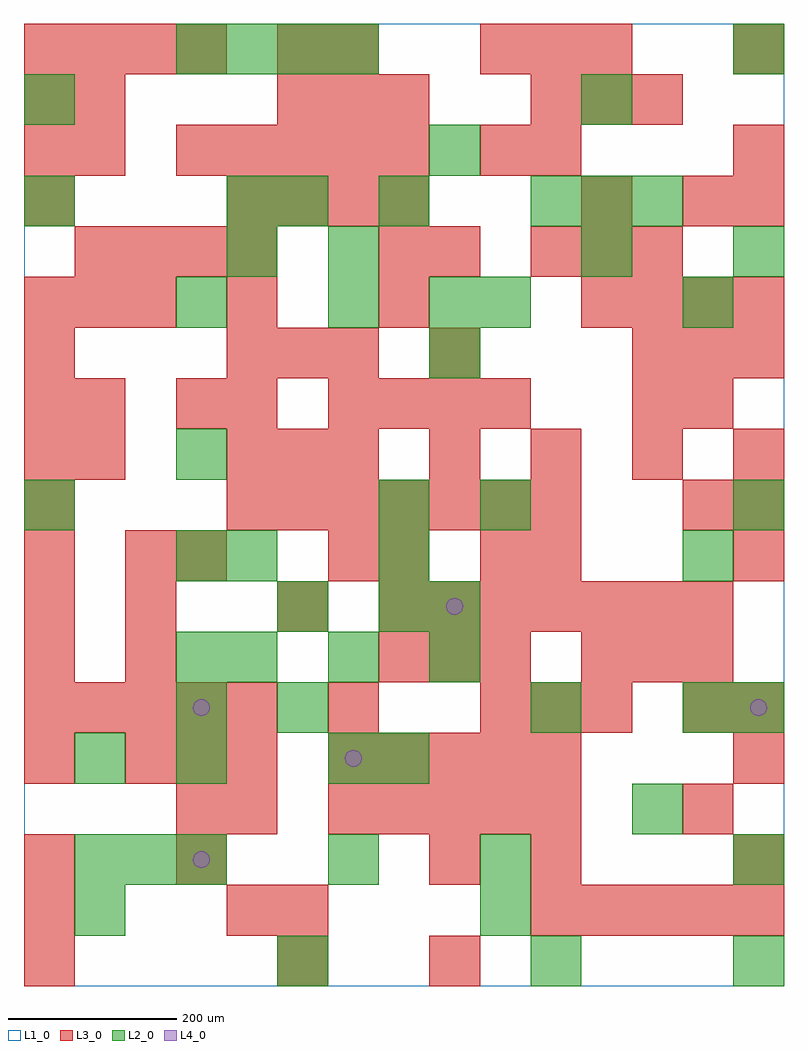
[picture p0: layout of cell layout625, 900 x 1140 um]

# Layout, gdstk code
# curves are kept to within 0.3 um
import gdstk
lib = gdstk.Library(unit=1e-6, precision=1e-09)
def R(c, l, rs):  # rectangles x0, y0, x1, y1
    for r in rs: c.add(gdstk.rectangle(r[:2], r[2:], *l))
def A(c, l, x, y, w, h, nx, ny, dx, dy):  # array of equal rectangles
    R(c, l, [(x+i*dx, y+j*dy, x+i*dx+w, y+j*dy+h) for i in range(nx) for j in range(ny)])
def P(c, l, *ps):  # polygons
    for p in ps: c.add(gdstk.Polygon(p, *l))
L1_0 = (1, 0)
L2_0 = (2, 0)
L3_0 = (3, 0)
L4_0 = (4, 0)

layout625 = lib.new_cell('layout625')
R(layout625, L1_0, [(0,0,900,1140)])
A(layout625, L2_0, 60, 120, 60, 60, 3, 1, 60, 0)
A(layout625, L2_0, 180, 240, 60, 60, 1, 3, 0, 60)
A(layout625, L2_0, 240, 360, 60, 60, 3, 1, 120, 0)
A(layout625, L2_0, 420, 420, 60, 60, 1, 3, 0, 60)
A(layout625, L2_0, 600, 900, 60, 60, 3, 1, 60, 0)
A(layout625, L2_0, 180, 1080, 60, 60, 4, 1, 60, 0)
R(layout625, L2_0, [(300,0,360,60), (600,0,660,60), (840,0,900,60), (60,60,120,120), (540,60,600,120), (360,120,420,180), (540,120,600,180), (840,120,900,180), (720,180,780,240), (60,240,120,300), (360,240,420,300), (420,240,480,300), (300,300,360,360), (600,300,660,360), (780,300,840,360), (840,300,900,360), (300,420,360,480), (480,420,540,480), (180,480,240,540), (240,480,300,540), (780,480,840,540), (0,540,60,600), (540,540,600,600), (840,540,900,600), (180,600,240,660), (480,720,540,780), (180,780,240,840), (360,780,420,840), (480,780,540,840), (540,780,600,840), (780,780,840,840), (240,840,300,900), (360,840,420,900), (660,840,720,900), (840,840,900,900), (0,900,60,960), (240,900,300,960), (300,900,360,960), (420,900,480,960), (480,960,540,1020), (0,1020,60,1080), (660,1020,720,1080), (840,1080,900,1140)])
A(layout625, L3_0, 0, 0, 60, 60, 1, 3, 0, 60)
A(layout625, L3_0, 600, 60, 60, 60, 5, 1, 60, 0)
A(layout625, L3_0, 360, 180, 60, 60, 5, 2, 60, 60)
A(layout625, L3_0, 120, 240, 60, 60, 3, 1, 60, 0)
A(layout625, L3_0, 0, 300, 60, 60, 5, 1, 60, 0)
A(layout625, L3_0, 540, 300, 60, 60, 3, 2, 60, 780)
A(layout625, L3_0, 0, 360, 60, 60, 1, 7, 0, 60)
A(layout625, L3_0, 120, 360, 60, 60, 1, 3, 0, 60)
A(layout625, L3_0, 420, 360, 60, 60, 3, 1, 60, 0)
A(layout625, L3_0, 660, 360, 60, 60, 3, 1, 60, 0)
A(layout625, L3_0, 420, 420, 60, 60, 7, 1, 60, 0)
A(layout625, L3_0, 240, 540, 60, 60, 7, 1, 60, 0)
A(layout625, L3_0, 240, 600, 60, 60, 3, 2, 60, 120)
A(layout625, L3_0, 480, 600, 60, 60, 4, 1, 120, 0)
A(layout625, L3_0, 360, 660, 60, 60, 4, 1, 60, 0)
A(layout625, L3_0, 720, 720, 60, 60, 3, 1, 60, 0)
A(layout625, L3_0, 0, 780, 60, 60, 3, 1, 60, 0)
A(layout625, L3_0, 660, 780, 60, 60, 4, 1, 60, 0)
A(layout625, L3_0, 60, 840, 60, 60, 4, 1, 60, 0)
A(layout625, L3_0, 600, 840, 60, 60, 3, 2, 60, 180)
A(layout625, L3_0, 0, 900, 60, 60, 1, 3, 0, 60)
A(layout625, L3_0, 240, 900, 60, 60, 4, 1, 60, 0)
A(layout625, L3_0, 180, 960, 60, 60, 5, 1, 60, 0)
A(layout625, L3_0, 300, 1020, 60, 60, 3, 1, 60, 0)
A(layout625, L3_0, 0, 1080, 60, 60, 4, 1, 60, 0)
R(layout625, L3_0, [(300,0,360,60), (480,0,540,60), (240,60,300,120), (300,60,360,120), (180,120,240,180), (480,120,540,180), (600,120,660,180), (840,120,900,180), (180,180,240,240), (240,180,300,240), (780,180,840,240), (0,240,60,300), (840,240,900,300), (360,300,420,360), (780,300,840,360), (840,300,900,360), (300,420,360,480), (180,480,240,540), (360,480,420,540), (420,480,480,540), (540,480,600,540), (600,480,660,540), (840,480,900,540), (780,540,840,600), (840,540,900,600), (60,600,120,660), (60,660,120,720), (180,660,240,720), (240,660,300,720), (720,660,780,720), (780,660,840,720), (480,720,540,780), (240,780,300,840), (420,780,480,840), (420,840,480,900), (480,840,540,900), (660,900,720,960), (780,900,840,960), (840,900,900,960), (60,960,120,1020), (540,960,600,1020), (600,960,660,1020), (840,960,900,1020), (60,1020,120,1080), (300,1080,360,1140), (360,1080,420,1140), (840,1080,900,1140)])
P(layout625, L4_0, [(220,150),(219.239,153.827),(217.071,157.071),(213.827,159.239),(210,160),(206.173,159.239),(202.929,157.071),(200.761,153.827),(200,150),(200.761,146.173),(202.929,142.929),(206.173,140.761),(210,140),(213.827,140.761),(217.071,142.929),(219.239,146.173)],
  [(220,330),(219.239,333.827),(217.071,337.071),(213.827,339.239),(210,340),(206.173,339.239),(202.929,337.071),(200.761,333.827),(200,330),(200.761,326.173),(202.929,322.929),(206.173,320.761),(210,320),(213.827,320.761),(217.071,322.929),(219.239,326.173)],
  [(400,270),(399.239,273.827),(397.071,277.071),(393.827,279.239),(390,280),(386.173,279.239),(382.929,277.071),(380.761,273.827),(380,270),(380.761,266.173),(382.929,262.929),(386.173,260.761),(390,260),(393.827,260.761),(397.071,262.929),(399.239,266.173)],
  [(520,450),(519.239,453.827),(517.071,457.071),(513.827,459.239),(510,460),(506.173,459.239),(502.929,457.071),(500.761,453.827),(500,450),(500.761,446.173),(502.929,442.929),(506.173,440.761),(510,440),(513.827,440.761),(517.071,442.929),(519.239,446.173)],
  [(880,330),(879.239,333.827),(877.071,337.071),(873.827,339.239),(870,340),(866.173,339.239),(862.929,337.071),(860.761,333.827),(860,330),(860.761,326.173),(862.929,322.929),(866.173,320.761),(870,320),(873.827,320.761),(877.071,322.929),(879.239,326.173)])

lib.write_gds('layout625.gds')
